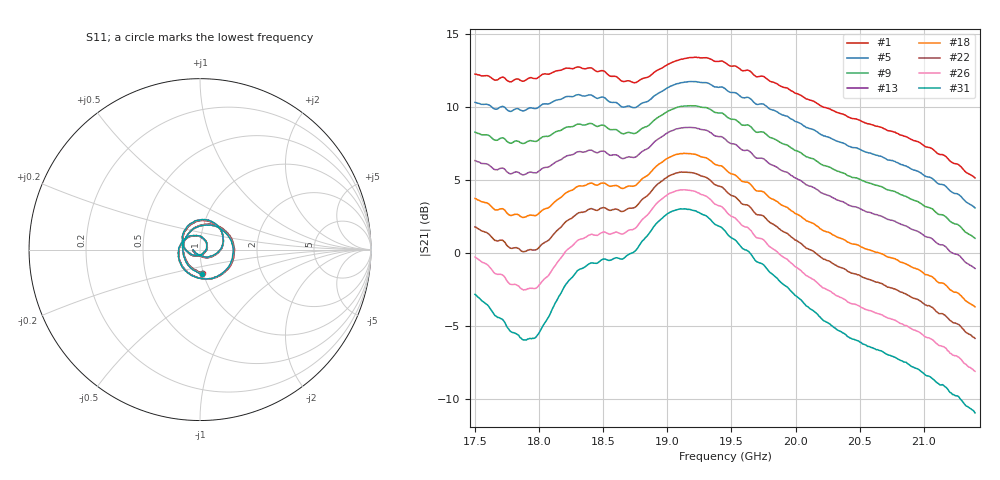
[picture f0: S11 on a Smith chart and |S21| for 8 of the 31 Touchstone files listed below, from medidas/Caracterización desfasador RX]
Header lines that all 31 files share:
!Created with skrf (http://scikit-rf.org).
# GHz S RI R 50.0
!freq ReS11 ImS11 ReS21 ImS21 ReS12 ImS12 ReS22 ImS22
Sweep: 17.5 GHz to 21.4 GHz
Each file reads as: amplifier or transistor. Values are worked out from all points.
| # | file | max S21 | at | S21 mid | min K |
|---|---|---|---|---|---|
| 1 | P3_amp_0.s2p | 13.4 dB | 19.23 GHz | 13.0 dB at 19.45 GHz | 41.56 |
| 2 | P3_amp_1.s2p | 13.1 dB | 19.23 GHz | 12.7 dB at 19.45 GHz | 46.77 |
| 3 | P3_amp_2.s2p | 12.7 dB | 19.22 GHz | 12.3 dB at 19.45 GHz | 53.45 |
| 4 | P3_amp_3.s2p | 12.3 dB | 19.22 GHz | 11.9 dB at 19.45 GHz | 52.34 |
| 5 | P3_amp_4.s2p | 11.7 dB | 19.22 GHz | 11.3 dB at 19.45 GHz | 46.40 |
| 6 | P3_amp_5.s2p | 11.4 dB | 19.22 GHz | 10.9 dB at 19.45 GHz | 46.52 |
| 7 | P3_amp_6.s2p | 11.0 dB | 19.18 GHz | 10.5 dB at 19.45 GHz | 55.84 |
| 8 | P3_amp_7.s2p | 10.7 dB | 19.19 GHz | 10.1 dB at 19.45 GHz | 63.04 |
| 9 | P3_amp_8.s2p | 10.1 dB | 19.18 GHz | 9.4 dB at 19.45 GHz | 68.55 |
| 10 | P3_amp_9.s2p | 9.8 dB | 19.19 GHz | 9.1 dB at 19.45 GHz | 68.80 |
| 11 | P3_amp_10.s2p | 9.4 dB | 19.19 GHz | 8.7 dB at 19.45 GHz | 67.42 |
| 12 | P3_amp_11.s2p | 9.1 dB | 19.18 GHz | 8.4 dB at 19.45 GHz | 77.30 |
| 13 | P3_amp_12.s2p | 8.6 dB | 19.18 GHz | 7.8 dB at 19.45 GHz | 85.60 |
| 14 | P3_amp_13.s2p | 8.3 dB | 19.18 GHz | 7.5 dB at 19.45 GHz | 87.76 |
| 15 | P3_amp_14.s2p | 8.0 dB | 19.18 GHz | 7.1 dB at 19.45 GHz | 88.28 |
| 16 | P3_amp_15.s2p | 7.7 dB | 19.14 GHz | 6.8 dB at 19.45 GHz | 98.14 |
| 17 | P3_amp_16.s2p | 7.1 dB | 19.18 GHz | 6.1 dB at 19.45 GHz | 92.35 |
| 18 | P3_amp_17.s2p | 6.8 dB | 19.13 GHz | 5.8 dB at 19.45 GHz | 99.47 |
| 19 | P3_amp_18.s2p | 6.5 dB | 19.14 GHz | 5.4 dB at 19.45 GHz | 99.41 |
| 20 | P3_amp_19.s2p | 6.2 dB | 19.14 GHz | 5.1 dB at 19.45 GHz | 113.12 |
| 21 | P3_amp_20.s2p | 5.8 dB | 19.14 GHz | 4.6 dB at 19.45 GHz | 105.28 |
| 22 | P3_amp_21.s2p | 5.5 dB | 19.11 GHz | 4.3 dB at 19.45 GHz | 121.25 |
| 23 | P3_amp_22.s2p | 5.3 dB | 19.14 GHz | 4.0 dB at 19.45 GHz | 121.71 |
| 24 | P3_amp_23.s2p | 5.0 dB | 19.14 GHz | 3.7 dB at 19.45 GHz | 105.72 |
| 25 | P3_amp_24.s2p | 4.5 dB | 19.13 GHz | 3.2 dB at 19.45 GHz | 139.93 |
| 26 | P3_amp_25.s2p | 4.3 dB | 19.13 GHz | 2.9 dB at 19.45 GHz | 140.77 |
| 27 | P3_amp_26.s2p | 4.1 dB | 19.14 GHz | 2.7 dB at 19.45 GHz | 160.47 |
| 28 | P3_amp_27.s2p | 3.8 dB | 19.11 GHz | 2.4 dB at 19.45 GHz | 165.34 |
| 29 | P3_amp_28.s2p | 3.5 dB | 19.11 GHz | 2.0 dB at 19.45 GHz | 140.11 |
| 30 | P3_amp_29.s2p | 3.3 dB | 19.13 GHz | 1.8 dB at 19.45 GHz | 177.98 |
| 31 | P3_amp_30.s2p | 3.0 dB | 19.11 GHz | 1.5 dB at 19.45 GHz | 149.08 |
